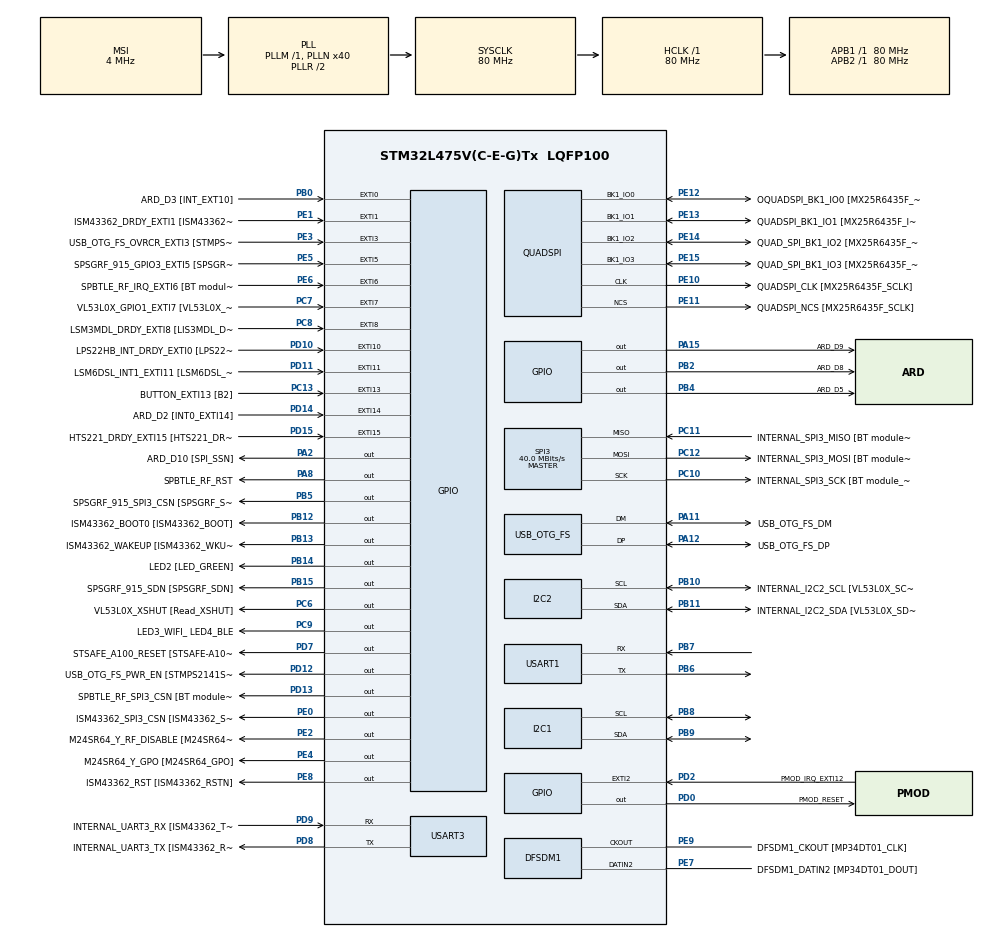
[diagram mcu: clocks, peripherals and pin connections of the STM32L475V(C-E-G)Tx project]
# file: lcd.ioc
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I2C1.Analog_Filter=I2C_ANALOGFILTER_DISABLE
I2C1.Timing=0x10D19EE6
I2C2.Timing=0x10D19CE4
Mcu.Family=STM32L4
Mcu.Name=STM32L475V(C-E-G)Tx
Mcu.Package=LQFP100
NVIC.EXTI15_10_IRQn=true\:0\:0\:false\:false\:true\:true\:true\:true
NVIC.EXTI9_5_IRQn=true\:0\:0\:false\:false\:true\:true\:true\:true
NVIC.PriorityGroup=NVIC_PRIORITYGROUP_4
PA0.GPIO_Label=ARD_D1 [UART4_TX]
PA0.Signal=UART4_TX
PA1.GPIO_Label=ARD_D0 [UART4_RX]
PA1.Signal=UART4_RX
PA10.GPIO_Label=USB_OTG_FS_ID
PA10.Signal=USB_OTG_FS_ID
PA11.GPIO_Label=USB_OTG_FS_DM
PA11.Mode=Device_Only
PA11.Signal=USB_OTG_FS_DM
PA12.GPIO_Label=USB_OTG_FS_DP
PA12.Mode=Device_Only
PA12.Signal=USB_OTG_FS_DP
PA13\ (JTMS-SWDIO).GPIO_Label=SYS_JTMS_SWDIO
PA13\ (JTMS-SWDIO).Mode=Serial_Wire
PA13\ (JTMS-SWDIO).Signal=SYS_JTMS-SWDIO
PA14\ (JTCK-SWCLK).GPIO_Label=SYS_JTCK_SWCLK
PA14\ (JTCK-SWCLK).Mode=Serial_Wire
PA14\ (JTCK-SWCLK).Signal=SYS_JTCK-SWCLK
PA15\ (JTDI).GPIO_Label=ARD_D9
PA15\ (JTDI).Signal=GPIO_Output
PA2.GPIO_Label=ARD_D10 [SPI_SSN]
PA2.Signal=GPIO_Output
PA3.GPIO_Label=ARD_D4
PA3.Signal=S_TIM2_CH4
PA4.GPIO_Label=ARD_D7
PA4.Signal=ADCx_IN9
PA5.GPIO_Label=ARD_D13 [SPI1_SCK]
PA5.Signal=SPI1_SCK
PA6.GPIO_Label=ARD_D12 [SPI1_MISO]
PA6.Signal=SPI1_MISO
PA7.GPIO_Label=ARD_D11 [SPI1_MOSI]
PA7.Signal=SPI1_MOSI
PA8.GPIO_Label=SPBTLE_RF_RST
PA8.Signal=GPIO_Output
PA9.GPIO_Label=USB_OTG_FS_VBUS [STMPS2141STR_OUT]
PA9.Signal=USB_OTG_FS_VBUS
PB0.GPIO_Label=ARD_D3 [INT_EXT10]
PB0.Signal=GPXTI0
PB1.GPIO_Label=ARD_D6 [ADC1_IN6]
PB1.Signal=ADCx_IN16
PB10.GPIO_Label=INTERNAL_I2C2_SCL [VL53L0X_SCL]
PB10.GPIO_Pu=GPIO_PULLUP
PB10.Mode=I2C
PB10.Signal=I2C2_SCL
PB11.GPIO_Label=INTERNAL_I2C2_SDA [VL53L0X_SDA]
PB11.GPIO_Pu=GPIO_PULLUP
PB11.Mode=I2C
PB11.Signal=I2C2_SDA
PB12.GPIO_Label=ISM43362_BOOT0 [ISM43362_BOOT]
PB12.Signal=GPIO_Output
PB13.GPIO_Label=ISM43362_WAKEUP [ISM43362_WKUP]
PB13.Signal=GPIO_Output
PB14.GPIO_Label=LED2 [LED_GREEN]
PB14.Signal=GPIO_Output
PB15.GPIO_Label=SPSGRF_915_SDN [SPSGRF_SDN]
PB15.Signal=GPIO_Output
PB2.GPIO_Label=ARD_D8
PB2.Signal=GPIO_Output
PB3\ (JTDO-TRACESWO).GPIO_Label=SYS_JTD0_SWO
PB3\ (JTDO-TRACESWO).Signal=SYS_JTDO-SWO
PB4\ (NJTRST).GPIO_Label=ARD_D5
PB4\ (NJTRST).Signal=GPIO_Output
PB5.GPIO_Label=SPSGRF_915_SPI3_CSN [SPSGRF_SPI_CS]
PB5.PinState=GPIO_PIN_SET
PB5.Signal=GPIO_Output
PB6.Mode=Asynchronous
PB6.Signal=USART1_TX
PB7.Mode=Asynchronous
PB7.Signal=USART1_RX
PB8.Mode=I2C
PB8.Signal=I2C1_SCL
PB9.Mode=I2C
PB9.Signal=I2C1_SDA
PC0.GPIO_Label=ARD_A5 [ADC]
PC0.Signal=ADCx_IN1
PC1.GPIO_Label=ARD_A4 [ADC]
PC1.Signal=ADCx_IN2
PC10.GPIO_Label=INTERNAL_SPI3_SCK [BT module_SPI_SCLK] [ISM43362_SCK]
PC10.Mode=Full_Duplex_Master
PC10.Signal=SPI3_SCK
PC11.GPIO_Label=INTERNAL_SPI3_MISO [BT module_SPI_MISO] [ISM43362_MISO]
PC11.Mode=Full_Duplex_Master
PC11.Signal=SPI3_MISO
PC12.GPIO_Label=INTERNAL_SPI3_MOSI [BT module_SPI_MOSI] [ISM43362_MOSI]
PC12.Mode=Full_Duplex_Master
PC12.Signal=SPI3_MOSI
PC13.GPIO_Label=BUTTON_EXTI13 [B2]
PC13.GPIO_ModeDefaultEXTI=GPIO_MODE_IT_FALLING
PC13.Signal=GPXTI13
PC14-OSC32_IN\ (PC14).Mode=LSE-External-Oscillator
PC14-OSC32_IN\ (PC14).Signal=RCC_OSC32_IN
PC15-OSC32_OUT\ (PC15).Mode=LSE-External-Oscillator
PC15-OSC32_OUT\ (PC15).Signal=RCC_OSC32_OUT
PC2.GPIO_Label=ARD_A3 [ADC]
PC2.Signal=ADCx_IN3
PC3.GPIO_Label=ARD_A2 [ADC]
PC3.Signal=ADCx_IN4
PC4.GPIO_Label=ARD_A1 [ADC]
PC4.Signal=ADCx_IN13
PC5.GPIO_Label=ARD_A0 [ADC]
PC5.Signal=ADCx_IN14
PC6.GPIO_Label=VL53L0X_XSHUT [Read_XSHUT]
PC6.Signal=GPIO_Output
PC7.GPIO_Label=VL53L0X_GPIO1_EXTI7 [VL53L0X_GPIO1]
PC7.Signal=GPXTI7
PC8.GPIO_Label=LSM3MDL_DRDY_EXTI8 [LIS3MDL_DRDY]
PC8.Signal=GPXTI8
PC9.GPIO_Label=LED3_WIFI_ LED4_BLE
PC9.Signal=GPIO_Output
PD0.GPIO_Label=PMOD_RESET
PD0.Signal=GPIO_Output
PD1.GPIO_Label=PMOD_SPI2_SCK
PD1.Signal=SPI2_SCK
PD10.GPIO_Label=LPS22HB_INT_DRDY_EXTI0 [LPS22HB_INT_DRDY] 
PD10.Signal=GPXTI10
PD11.GPIO_Label=LSM6DSL_INT1_EXTI11 [LSM6DSL_INT1]
PD11.Signal=GPXTI11
PD12.GPIO_Label=USB_OTG_FS_PWR_EN [STMPS2141STR_EN]
PD12.Signal=GPIO_Output
PD13.GPIO_Label=SPBTLE_RF_SPI3_CSN [BT module_SPI_CS]
PD13.PinState=GPIO_PIN_SET
PD13.Signal=GPIO_Output
PD14.GPIO_Label=ARD_D2 [INT0_EXTI14]
PD14.Signal=GPXTI14
PD15.GPIO_Label=HTS221_DRDY_EXTI15 [HTS221_DRDY]
PD15.Signal=GPXTI15
PD2.GPIO_Label=PMOD_IRQ_EXTI12
PD2.Signal=GPXTI2
PD3.GPIO_Label=PMOD_UART2_CTS
PD3.Signal=USART2_CTS
PD4.GPIO_Label=PMOD_UART2_RTS
PD4.Signal=USART2_RTS
PD5.GPIO_Label=PMOD_UART2_TX
PD5.Signal=USART2_TX
PD6.GPIO_Label=PMOD_UART2_RX
PD6.Signal=USART2_RX
PD7.GPIO_Label=STSAFE_A100_RESET [STSAFE-A100_RESET]
PD7.Signal=GPIO_Output
PD8.GPIO_Label=INTERNAL_UART3_TX [ISM43362_RX]
PD8.Mode=Asynchronous
PD8.Signal=USART3_TX
PD9.GPIO_Label=INTERNAL_UART3_RX [ISM43362_TX]
PD9.Mode=Asynchronous
PD9.Signal=USART3_RX
PE0.GPIO_Label=ISM43362_SPI3_CSN [ISM43362_SSN]
PE0.PinState=GPIO_PIN_SET
PE0.Signal=GPIO_Output
PE1.GPIO_Label=ISM43362_DRDY_EXTI1 [ISM43362_DATARDY]
PE1.Signal=GPXTI1
PE10.GPIO_Label=QUADSPI_CLK [MX25R6435F_SCLK]
PE10.Mode=Single Bank
PE10.Signal=QUADSPI_CLK
PE11.GPIO_Label=QUADSPI_NCS [MX25R6435F_SCLK]
PE11.Mode=Single Bank
PE11.Signal=QUADSPI_NCS
PE12.GPIO_Label=OQUADSPI_BK1_IO0 [MX25R6435F_IO0]
PE12.Mode=Single Bank
PE12.Signal=QUADSPI_BK1_IO0
PE13.GPIO_Label=QUADSPI_BK1_IO1 [MX25R6435F_IO1]
PE13.Mode=Single Bank
PE13.Signal=QUADSPI_BK1_IO1
PE14.GPIO_Label=QUAD_SPI_BK1_IO2 [MX25R6435F_IO2]
PE14.Mode=Single Bank
PE14.Signal=QUADSPI_BK1_IO2
PE15.GPIO_Label=QUAD_SPI_BK1_IO3 [MX25R6435F_IO3]
PE15.Mode=Single Bank
PE15.Signal=QUADSPI_BK1_IO3
PE2.GPIO_Label=M24SR64_Y_RF_DISABLE [M24SR64_RFDIS]
PE2.Signal=GPIO_Output
PE3.GPIO_Label=USB_OTG_FS_OVRCR_EXTI3 [STMPS2141STR_FAULT]
PE3.Signal=GPXTI3
PE4.GPIO_Label=M24SR64_Y_GPO [M24SR64_GPO]
PE4.Signal=GPIO_Output
PE5.GPIO_Label=SPSGRF_915_GPIO3_EXTI5 [SPSGRF_GPIO_3]
PE5.Signal=GPXTI5
PE6.GPIO_Label=SPBTLE_RF_IRQ_EXTI6 [BT module_SPI_IRQ]
PE6.Signal=GPXTI6
PE7.GPIO_Label=DFSDM1_DATIN2 [MP34DT01_DOUT]
PE7.Signal=S_DATAIN2DFSDM1
PE8.GPIO_Label=ISM43362_RST [ISM43362_RSTN]
PE8.Signal=GPIO_Output
PE9.GPIO_Label=DFSDM1_CKOUT [MP34DT01_CLK]
PE9.Signal=S_CKOUTDFSDM1
ProjectManager.HeapSize=0x200
ProjectManager.StackSize=0x400
ProjectManager.TargetToolchain=STM32CubeIDE
QUADSPI.ClockPrescaler=2
QUADSPI.FifoThreshold=4
QUADSPI.FlashSize=23
QUADSPI.SampleShifting=QSPI_SAMPLE_SHIFTING_HALFCYCLE
RCC.ADCFreq_Value=48000000
RCC.AHBFreq_Value=80000000
RCC.APB1Freq_Value=80000000
RCC.APB1TimFreq_Value=80000000
RCC.APB2Freq_Value=80000000
RCC.APB2TimFreq_Value=80000000
RCC.CortexFreq_Value=80000000
RCC.HCLKFreq_Value=80000000
RCC.HSE_VALUE=8000000
RCC.HSI_VALUE=16000000
RCC.MSI_VALUE=4000000
RCC.PLLN=40
RCC.PLLSAI1N=24
RCC.SYSCLKFreq_VALUE=80000000
RCC.SYSCLKSource=RCC_SYSCLKSOURCE_PLLCLK
RCC.USBFreq_Value=48000000
RCC.VCOOutputFreq_Value=160000000
SH.ADCx_IN1.0=ADC1_IN1
SH.ADCx_IN13.0=ADC1_IN13
SH.ADCx_IN14.0=ADC1_IN14
SH.ADCx_IN16.0=ADC1_IN16
SH.ADCx_IN2.0=ADC1_IN2
SH.ADCx_IN3.0=ADC1_IN3
SH.ADCx_IN4.0=ADC1_IN4
SH.ADCx_IN9.0=ADC1_IN9
SH.S_CKOUTDFSDM1.0=DFSDM1_CKOUT,CKOUT
SH.S_CKOUTDFSDM1.1=DFSDM1_CKOUT,PDM_SPI_Input_from_ch12_and_Internal_Clock
SH.S_DATAIN2DFSDM1.0=DFSDM1_DATIN2,PDM_SPI_Input_from_ch12_and_Internal_Clock
SH.S_TIM2_CH4.0=TIM2_CH4
SPI3.CalculateBaudRate=40.0 MBits/s
SPI3.Direction=SPI_DIRECTION_2LINES
SPI3.Mode=SPI_MODE_MASTER
SPI3.VirtualType=VM_MASTER
USART1.VirtualMode-Asynchronous=VM_ASYNC
USART3.VirtualMode-Asynchronous=VM_ASYNC
USB_OTG_FS.VirtualMode=Device_Only
board=B-L475E-IOT01A1

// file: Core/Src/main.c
/* USER CODE BEGIN Header */
/**
  ******************************************************************************
  * @file           : main.c
  * @brief          : Main program body
  ******************************************************************************
  * @attention
  *
  * Copyright (c) 2024 STMicroelectronics.
  * All rights reserved.
  *
  * This software is licensed under terms that can be found in the LICENSE file
  * in the root directory of this software component.
  * If no LICENSE file comes with this software, it is provided AS-IS.
  *
  ******************************************************************************
  */
/* USER CODE END Header */
#include "main.h"

/* USER CODE BEGIN Includes */

#include <string.h>
/* USER CODE END Includes */

DFSDM_Channel_HandleTypeDef hdfsdm1_channel1;

I2C_HandleTypeDef hi2c1;
I2C_HandleTypeDef hi2c2;

QSPI_HandleTypeDef hqspi;

SPI_HandleTypeDef hspi3;

UART_HandleTypeDef huart1;
UART_HandleTypeDef huart3;

PCD_HandleTypeDef hpcd_USB_OTG_FS;

/* USER CODE BEGIN PV */
#define SLAVE_ADDRESS_LCD 0x4E // change this according to ur setup

/* USER CODE END PV */

void SystemClock_Config(void);
static void MX_GPIO_Init(void);
static void MX_DFSDM1_Init(void);
static void MX_I2C2_Init(void);
static void MX_QUADSPI_Init(void);
static void MX_SPI3_Init(void);
static void MX_USART1_UART_Init(void);
static void MX_USART3_UART_Init(void);
static void MX_USB_OTG_FS_PCD_Init(void);
static void MX_I2C1_Init(void);

/* USER CODE BEGIN 0 */
void lcd_init (void)
{
  // 4 bit initialisation
  HAL_Delay(50);  // wait for >40ms
  lcd_send_cmd (0x30);
  HAL_Delay(5);  // wait for >4.1ms
  lcd_send_cmd (0x30);
  HAL_Delay(1);  // wait for >100us
  lcd_send_cmd (0x30);
  HAL_Delay(10);
  lcd_send_cmd (0x20);  // 4bit mode
  HAL_Delay(10);

  // display initialisation
  lcd_send_cmd (0x28); // Function set --> DL=0 (4 bit mode), N = 1 (2 line display) F = 0 (5x8 characters)
  HAL_Delay(1);
  lcd_send_cmd (0x08); //Display on/off control --> D=0,C=0, B=0  ---> display off
  HAL_Delay(1);
  lcd_send_cmd (0x01);  // clear display
  HAL_Delay(2);
  lcd_send_cmd (0x06); //Entry mode set --> I/D = 1 (increment cursor) & S = 0 (no shift)
  HAL_Delay(1);
  lcd_send_cmd (0x0C); //Display on/off control --> D = 1, C and B = 0. (Cursor and blink, last two bits)
}
void lcd_send_cmd (char cmd)
{
  char data_u, data_l;
  data_u = (cmd&0xf0);
  data_l = ((cmd<<4)&0xf0);
  uint8_t data_t[4];
    data_t[0] = data_u|0x0C;  //en=1, rs=0 -> bxxxx1100
    data_t[1] = data_u|0x08;  //en=0, rs=0 -> bxxxx1000
	data_t[2] = data_l|0x0C;  //en=1, rs=0 -> bxxxx1100
	data_t[3] = data_l|0x08;  //en=0, rs=0 -> bxxxx1000
	HAL_I2C_Master_Transmit (&hi2c1, SLAVE_ADDRESS_LCD,(uint8_t *) data_t, 4, 100);
}
void lcd_send_data (char data)
{
	char data_u, data_l;
	uint8_t data_t[4];
	data_u = (data&0xf0);
	data_l = ((data<<4)&0xf0);
	data_t[0] = data_u|0x0D;  //en=1, rs=1 -> bxxxx1101
	data_t[1] = data_u|0x09;  //en=0, rs=1 -> bxxxx1001
	data_t[2] = data_l|0x0D;  //en=1, rs=1 -> bxxxx1101
	data_t[3] = data_l|0x09;  //en=0, rs=1 -> bxxxx1001
	HAL_I2C_Master_Transmit (&hi2c1, SLAVE_ADDRESS_LCD,(uint8_t *) data_t, 4, 100);
}
void lcd_put_cur(int row, int col)
{
    switch (row)
    {
        case 0:
            col |= 0x80;
            break;
        case 1:
            col |= 0xC0;
            break;
    }
    lcd_send_cmd (col);
}
void lcd_send_string (char *str)
{
  while (*str) lcd_send_data (*str++);
}
/* USER CODE END 0 */

int main(void)
{

  /* USER CODE BEGIN 1 */
	void lcd_init (void)
	{
	  // 4 bit initialisation
	  HAL_Delay(50);  // wait for >40ms
	  lcd_send_cmd (0x30);
	  HAL_Delay(5);  // wait for >4.1ms
	  lcd_send_cmd (0x30);
	  HAL_Delay(1);  // wait for >100us
	  lcd_send_cmd (0x30);
	  HAL_Delay(10);
	  lcd_send_cmd (0x20);  // 4bit mode
	  HAL_Delay(10);

	  // display initialisation
	  lcd_send_cmd (0x28); // Function set --> DL=0 (4 bit mode), N = 1 (2 line display) F = 0 (5x8 characters)
	  HAL_Delay(1);
	  lcd_send_cmd (0x08); //Display on/off control --> D=0,C=0, B=0  ---> display off
	  HAL_Delay(1);
	  lcd_send_cmd (0x01);  // clear display
	  HAL_Delay(2);
	  lcd_send_cmd (0x06); //Entry mode set --> I/D = 1 (increment cursor) & S = 0 (no shift)
	  HAL_Delay(1);
	  lcd_send_cmd (0x0C); //Display on/off control --> D = 1, C and B = 0. (Cursor and blink, last two bits)
	}

  /* USER CODE END 1 */

  /* MCU Configuration--------------------------------------------------------*/

  /* Reset of all peripherals, Initializes the Flash interface and the Systick. */
  HAL_Init();

  /* Configure the system clock */
  SystemClock_Config();

  /* Initialize all configured peripherals */
  MX_GPIO_Init();
  MX_DFSDM1_Init();
  MX_I2C2_Init();
  MX_QUADSPI_Init();
  MX_SPI3_Init();
  MX_USART1_UART_Init();
  MX_USART3_UART_Init();
  MX_USB_OTG_FS_PCD_Init();
  MX_I2C1_Init();
  /* USER CODE BEGIN 2 */

  lcd_init ();

  /* USER CODE END 2 */

  /* Infinite loop */
  while (1)
  {

	  	  int num = 1234;
	  	  char numChar[5];
	  	  sprintf(numChar, "%d", num);
	  	  lcd_put_cur(1, 0);
	  	  lcd_send_string (numChar);

  }
}

void SystemClock_Config(void)
{
  RCC_OscInitTypeDef RCC_OscInitStruct = {0};
  RCC_ClkInitTypeDef RCC_ClkInitStruct = {0};

  /** Configure the main internal regulator output voltage
  */
  if (HAL_PWREx_ControlVoltageScaling(PWR_REGULATOR_VOLTAGE_SCALE1) != HAL_OK)
  {
    Error_Handler();
  }

  /** Configure LSE Drive Capability
  */
  HAL_PWR_EnableBkUpAccess();
  __HAL_RCC_LSEDRIVE_CONFIG(RCC_LSEDRIVE_LOW);

  /** Initializes the RCC Oscillators according to the specified parameters
  * in the RCC_OscInitTypeDef structure.
  */
  RCC_OscInitStruct.OscillatorType = RCC_OSCILLATORTYPE_LSE|RCC_OSCILLATORTYPE_MSI;
  RCC_OscInitStruct.LSEState = RCC_LSE_ON;
  RCC_OscInitStruct.MSIState = RCC_MSI_ON;
  RCC_OscInitStruct.MSICalibrationValue = 0;
  RCC_OscInitStruct.MSIClockRange = RCC_MSIRANGE_6;
  RCC_OscInitStruct.PLL.PLLState = RCC_PLL_ON;
  RCC_OscInitStruct.PLL.PLLSource = RCC_PLLSOURCE_MSI;
  RCC_OscInitStruct.PLL.PLLM = 1;
  RCC_OscInitStruct.PLL.PLLN = 40;
  RCC_OscInitStruct.PLL.PLLP = RCC_PLLP_DIV7;
  RCC_OscInitStruct.PLL.PLLQ = RCC_PLLQ_DIV2;
  RCC_OscInitStruct.PLL.PLLR = RCC_PLLR_DIV2;
  if (HAL_RCC_OscConfig(&RCC_OscInitStruct) != HAL_OK)
  {
    Error_Handler();
  }

  /** Initializes the CPU, AHB and APB buses clocks
  */
  RCC_ClkInitStruct.ClockType = RCC_CLOCKTYPE_HCLK|RCC_CLOCKTYPE_SYSCLK
                              |RCC_CLOCKTYPE_PCLK1|RCC_CLOCKTYPE_PCLK2;
  RCC_ClkInitStruct.SYSCLKSource = RCC_SYSCLKSOURCE_PLLCLK;
  RCC_ClkInitStruct.AHBCLKDivider = RCC_SYSCLK_DIV1;
  RCC_ClkInitStruct.APB1CLKDivider = RCC_HCLK_DIV1;
  RCC_ClkInitStruct.APB2CLKDivider = RCC_HCLK_DIV1;

  if (HAL_RCC_ClockConfig(&RCC_ClkInitStruct, FLASH_LATENCY_4) != HAL_OK)
  {
    Error_Handler();
  }

  /** Enable MSI Auto calibration
  */
  HAL_RCCEx_EnableMSIPLLMode();
}

static void MX_DFSDM1_Init(void)
{

  hdfsdm1_channel1.Instance = DFSDM1_Channel1;
  hdfsdm1_channel1.Init.OutputClock.Activation = ENABLE;
  hdfsdm1_channel1.Init.OutputClock.Selection = DFSDM_CHANNEL_OUTPUT_CLOCK_SYSTEM;
  hdfsdm1_channel1.Init.OutputClock.Divider = 2;
  hdfsdm1_channel1.Init.Input.Multiplexer = DFSDM_CHANNEL_EXTERNAL_INPUTS;
  hdfsdm1_channel1.Init.Input.DataPacking = DFSDM_CHANNEL_STANDARD_MODE;
  hdfsdm1_channel1.Init.Input.Pins = DFSDM_CHANNEL_FOLLOWING_CHANNEL_PINS;
  hdfsdm1_channel1.Init.SerialInterface.Type = DFSDM_CHANNEL_SPI_RISING;
  hdfsdm1_channel1.Init.SerialInterface.SpiClock = DFSDM_CHANNEL_SPI_CLOCK_INTERNAL;
  hdfsdm1_channel1.Init.Awd.FilterOrder = DFSDM_CHANNEL_FASTSINC_ORDER;
  hdfsdm1_channel1.Init.Awd.Oversampling = 1;
  hdfsdm1_channel1.Init.Offset = 0;
  hdfsdm1_channel1.Init.RightBitShift = 0x00;
  if (HAL_DFSDM_ChannelInit(&hdfsdm1_channel1) != HAL_OK)
  {
    Error_Handler();
  }

}

static void MX_I2C1_Init(void)
{

  hi2c1.Instance = I2C1;
  hi2c1.Init.Timing = 0x10D19CE4;
  hi2c1.Init.OwnAddress1 = 0;
  hi2c1.Init.AddressingMode = I2C_ADDRESSINGMODE_7BIT;
  hi2c1.Init.DualAddressMode = I2C_DUALADDRESS_DISABLE;
  hi2c1.Init.OwnAddress2 = 0;
  hi2c1.Init.OwnAddress2Masks = I2C_OA2_NOMASK;
  hi2c1.Init.GeneralCallMode = I2C_GENERALCALL_DISABLE;
  hi2c1.Init.NoStretchMode = I2C_NOSTRETCH_DISABLE;
  if (HAL_I2C_Init(&hi2c1) != HAL_OK)
  {
    Error_Handler();
  }

  /** Configure Analogue filter
  */
  if (HAL_I2CEx_ConfigAnalogFilter(&hi2c1, I2C_ANALOGFILTER_ENABLE) != HAL_OK)
  {
    Error_Handler();
  }

  /** Configure Digital filter
  */
  if (HAL_I2CEx_ConfigDigitalFilter(&hi2c1, 0) != HAL_OK)
  {
    Error_Handler();
  }

}

static void MX_I2C2_Init(void)
{

  hi2c2.Instance = I2C2;
  hi2c2.Init.Timing = 0x10D19CE4;
  hi2c2.Init.OwnAddress1 = 0;
  hi2c2.Init.AddressingMode = I2C_ADDRESSINGMODE_7BIT;
  hi2c2.Init.DualAddressMode = I2C_DUALADDRESS_DISABLE;
  hi2c2.Init.OwnAddress2 = 0;
  hi2c2.Init.OwnAddress2Masks = I2C_OA2_NOMASK;
  hi2c2.Init.GeneralCallMode = I2C_GENERALCALL_DISABLE;
  hi2c2.Init.NoStretchMode = I2C_NOSTRETCH_DISABLE;
  if (HAL_I2C_Init(&hi2c2) != HAL_OK)
  {
    Error_Handler();
  }

  /** Configure Analogue filter
  */
  if (HAL_I2CEx_ConfigAnalogFilter(&hi2c2, I2C_ANALOGFILTER_ENABLE) != HAL_OK)
  {
    Error_Handler();
  }

  /** Configure Digital filter
  */
  if (HAL_I2CEx_ConfigDigitalFilter(&hi2c2, 0) != HAL_OK)
  {
    Error_Handler();
  }

}

static void MX_QUADSPI_Init(void)
{

  /* QUADSPI parameter configuration*/
  hqspi.Instance = QUADSPI;
  hqspi.Init.ClockPrescaler = 2;
  hqspi.Init.FifoThreshold = 4;
  hqspi.Init.SampleShifting = QSPI_SAMPLE_SHIFTING_HALFCYCLE;
  hqspi.Init.FlashSize = 23;
  hqspi.Init.ChipSelectHighTime = QSPI_CS_HIGH_TIME_1_CYCLE;
  hqspi.Init.ClockMode = QSPI_CLOCK_MODE_0;
  if (HAL_QSPI_Init(&hqspi) != HAL_OK)
  {
    Error_Handler();
  }

}

static void MX_SPI3_Init(void)
{

  /* SPI3 parameter configuration*/
  hspi3.Instance = SPI3;
  hspi3.Init.Mode = SPI_MODE_MASTER;
  hspi3.Init.Direction = SPI_DIRECTION_2LINES;
  hspi3.Init.DataSize = SPI_DATASIZE_4BIT;
  hspi3.Init.CLKPolarity = SPI_POLARITY_LOW;
  hspi3.Init.CLKPhase = SPI_PHASE_1EDGE;
  hspi3.Init.NSS = SPI_NSS_SOFT;
  hspi3.Init.BaudRatePrescaler = SPI_BAUDRATEPRESCALER_2;
  hspi3.Init.FirstBit = SPI_FIRSTBIT_MSB;
  hspi3.Init.TIMode = SPI_TIMODE_DISABLE;
  hspi3.Init.CRCCalculation = SPI_CRCCALCULATION_DISABLE;
  hspi3.Init.CRCPolynomial = 7;
  hspi3.Init.CRCLength = SPI_CRC_LENGTH_DATASIZE;
  hspi3.Init.NSSPMode = SPI_NSS_PULSE_ENABLE;
  if (HAL_SPI_Init(&hspi3) != HAL_OK)
  {
    Error_Handler();
  }

}

static void MX_USART1_UART_Init(void)
{

  huart1.Instance = USART1;
  huart1.Init.BaudRate = 115200;
  huart1.Init.WordLength = UART_WORDLENGTH_8B;
  huart1.Init.StopBits = UART_STOPBITS_1;
  huart1.Init.Parity = UART_PARITY_NONE;
  huart1.Init.Mode = UART_MODE_TX_RX;
  huart1.Init.HwFlowCtl = UART_HWCONTROL_NONE;
  huart1.Init.OverSampling = UART_OVERSAMPLING_16;
  huart1.Init.OneBitSampling = UART_ONE_BIT_SAMPLE_DISABLE;
  huart1.AdvancedInit.AdvFeatureInit = UART_ADVFEATURE_NO_INIT;
  if (HAL_UART_Init(&huart1) != HAL_OK)
  {
    Error_Handler();
  }

}

static void MX_USART3_UART_Init(void)
{

  huart3.Instance = USART3;
  huart3.Init.BaudRate = 115200;
  huart3.Init.WordLength = UART_WORDLENGTH_8B;
  huart3.Init.StopBits = UART_STOPBITS_1;
  huart3.Init.Parity = UART_PARITY_NONE;
  huart3.Init.Mode = UART_MODE_TX_RX;
  huart3.Init.HwFlowCtl = UART_HWCONTROL_NONE;
  huart3.Init.OverSampling = UART_OVERSAMPLING_16;
  huart3.Init.OneBitSampling = UART_ONE_BIT_SAMPLE_DISABLE;
  huart3.AdvancedInit.AdvFeatureInit = UART_ADVFEATURE_NO_INIT;
  if (HAL_UART_Init(&huart3) != HAL_OK)
  {
    Error_Handler();
  }

}

static void MX_USB_OTG_FS_PCD_Init(void)
{

  hpcd_USB_OTG_FS.Instance = USB_OTG_FS;
  hpcd_USB_OTG_FS.Init.dev_endpoints = 6;
  hpcd_USB_OTG_FS.Init.speed = PCD_SPEED_FULL;
  hpcd_USB_OTG_FS.Init.phy_itface = PCD_PHY_EMBEDDED;
  hpcd_USB_OTG_FS.Init.Sof_enable = DISABLE;
  hpcd_USB_OTG_FS.Init.low_power_enable = DISABLE;
  hpcd_USB_OTG_FS.Init.lpm_enable = DISABLE;
  hpcd_USB_OTG_FS.Init.battery_charging_enable = DISABLE;
  hpcd_USB_OTG_FS.Init.use_dedicated_ep1 = DISABLE;
  hpcd_USB_OTG_FS.Init.vbus_sensing_enable = DISABLE;
  if (HAL_PCD_Init(&hpcd_USB_OTG_FS) != HAL_OK)
  {
    Error_Handler();
  }

}

static void MX_GPIO_Init(void)
{
  GPIO_InitTypeDef GPIO_InitStruct = {0};

  /* GPIO Ports Clock Enable */
  __HAL_RCC_GPIOE_CLK_ENABLE();
  __HAL_RCC_GPIOC_CLK_ENABLE();
  __HAL_RCC_GPIOA_CLK_ENABLE();
  __HAL_RCC_GPIOB_CLK_ENABLE();
  __HAL_RCC_GPIOD_CLK_ENABLE();

  /*Configure GPIO pin Output Level */
  HAL_GPIO_WritePin(GPIOE, M24SR64_Y_RF_DISABLE_Pin|M24SR64_Y_GPO_Pin|ISM43362_RST_Pin, GPIO_PIN_RESET);

  /*Configure GPIO pin Output Level */
  HAL_GPIO_WritePin(GPIOA, ARD_D10_Pin|SPBTLE_RF_RST_Pin|ARD_D9_Pin, GPIO_PIN_RESET);

  /*Configure GPIO pin Output Level */
  HAL_GPIO_WritePin(GPIOB, ARD_D8_Pin|ISM43362_BOOT0_Pin|ISM43362_WAKEUP_Pin|LED2_Pin
                          |SPSGRF_915_SDN_Pin|ARD_D5_Pin, GPIO_PIN_RESET);

  /*Configure GPIO pin Output Level */
  HAL_GPIO_WritePin(GPIOD, USB_OTG_FS_PWR_EN_Pin|PMOD_RESET_Pin|STSAFE_A100_RESET_Pin, GPIO_PIN_RESET);

  /*Configure GPIO pin Output Level */
  HAL_GPIO_WritePin(SPBTLE_RF_SPI3_CSN_GPIO_Port, SPBTLE_RF_SPI3_CSN_Pin, GPIO_PIN_SET);

  /*Configure GPIO pin Output Level */
  HAL_GPIO_WritePin(GPIOC, VL53L0X_XSHUT_Pin|LED3_WIFI__LED4_BLE_Pin, GPIO_PIN_RESET);

  /*Configure GPIO pin Output Level */
  HAL_GPIO_WritePin(SPSGRF_915_SPI3_CSN_GPIO_Port, SPSGRF_915_SPI3_CSN_Pin, GPIO_PIN_SET);

  /*Configure GPIO pin Output Level */
  HAL_GPIO_WritePin(ISM43362_SPI3_CSN_GPIO_Port, ISM43362_SPI3_CSN_Pin, GPIO_PIN_SET);

  /*Configure GPIO pins : M24SR64_Y_RF_DISABLE_Pin M24SR64_Y_GPO_Pin ISM43362_RST_Pin ISM43362_SPI3_CSN_Pin */
  GPIO_InitStruct.Pin = M24SR64_Y_RF_DISABLE_Pin|M24SR64_Y_GPO_Pin|ISM43362_RST_Pin|ISM43362_SPI3_CSN_Pin;
  GPIO_InitStruct.Mode = GPIO_MODE_OUTPUT_PP;
  GPIO_InitStruct.Pull = GPIO_NOPULL;
  GPIO_InitStruct.Speed = GPIO_SPEED_FREQ_LOW;
  HAL_GPIO_Init(GPIOE, &GPIO_InitStruct);

  /*Configure GPIO pins : USB_OTG_FS_OVRCR_EXTI3_Pin SPSGRF_915_GPIO3_EXTI5_Pin SPBTLE_RF_IRQ_EXTI6_Pin ISM43362_DRDY_EXTI1_Pin */
  GPIO_InitStruct.Pin = USB_OTG_FS_OVRCR_EXTI3_Pin|SPSGRF_915_GPIO3_EXTI5_Pin|SPBTLE_RF_IRQ_EXTI6_Pin|ISM43362_DRDY_EXTI1_Pin;
  GPIO_InitStruct.Mode = GPIO_MODE_IT_RISING;
  GPIO_InitStruct.Pull = GPIO_NOPULL;
  HAL_GPIO_Init(GPIOE, &GPIO_InitStruct);

  /*Configure GPIO pin : BUTTON_EXTI13_Pin */
  GPIO_InitStruct.Pin = BUTTON_EXTI13_Pin;
  GPIO_InitStruct.Mode = GPIO_MODE_IT_FALLING;
  GPIO_InitStruct.Pull = GPIO_NOPULL;
  HAL_GPIO_Init(BUTTON_EXTI13_GPIO_Port, &GPIO_InitStruct);

  /*Configure GPIO pins : ARD_A5_Pin ARD_A4_Pin ARD_A3_Pin ARD_A2_Pin
                           ARD_A1_Pin ARD_A0_Pin */
  GPIO_InitStruct.Pin = ARD_A5_Pin|ARD_A4_Pin|ARD_A3_Pin|ARD_A2_Pin
                          |ARD_A1_Pin|ARD_A0_Pin;
  GPIO_InitStruct.Mode = GPIO_MODE_ANALOG_ADC_CONTROL;
  GPIO_InitStruct.Pull = GPIO_NOPULL;
  HAL_GPIO_Init(GPIOC, &GPIO_InitStruct);

  /*Configure GPIO pins : ARD_D1_Pin ARD_D0_Pin */
  GPIO_InitStruct.Pin = ARD_D1_Pin|ARD_D0_Pin;
  GPIO_InitStruct.Mode = GPIO_MODE_AF_PP;
  GPIO_InitStruct.Pull = GPIO_NOPULL;
  GPIO_InitStruct.Speed = GPIO_SPEED_FREQ_VERY_HIGH;
  GPIO_InitStruct.Alternate = GPIO_AF8_UART4;
  HAL_GPIO_Init(GPIOA, &GPIO_InitStruct);

  /*Configure GPIO pins : ARD_D10_Pin SPBTLE_RF_RST_Pin ARD_D9_Pin */
  GPIO_InitStruct.Pin = ARD_D10_Pin|SPBTLE_RF_RST_Pin|ARD_D9_Pin;
  GPIO_InitStruct.Mode = GPIO_MODE_OUTPUT_PP;
  GPIO_InitStruct.Pull = GPIO_NOPULL;
  GPIO_InitStruct.Speed = GPIO_SPEED_FREQ_LOW;
  HAL_GPIO_Init(GPIOA, &GPIO_InitStruct);

  /*Configure GPIO pin : ARD_D4_Pin */
  GPIO_InitStruct.Pin = ARD_D4_Pin;
  GPIO_InitStruct.Mode = GPIO_MODE_AF_PP;
  GPIO_InitStruct.Pull = GPIO_NOPULL;
  GPIO_InitStruct.Speed = GPIO_SPEED_FREQ_LOW;
  GPIO_InitStruct.Alternate = GPIO_AF1_TIM2;
  HAL_GPIO_Init(ARD_D4_GPIO_Port, &GPIO_InitStruct);

  /*Configure GPIO pin : ARD_D7_Pin */
  GPIO_InitStruct.Pin = ARD_D7_Pin;
  GPIO_InitStruct.Mode = GPIO_MODE_ANALOG_ADC_CONTROL;
  GPIO_InitStruct.Pull = GPIO_NOPULL;
  HAL_GPIO_Init(ARD_D7_GPIO_Port, &GPIO_InitStruct);

  /*Configure GPIO pins : ARD_D13_Pin ARD_D12_Pin ARD_D11_Pin */
  GPIO_InitStruct.Pin = ARD_D13_Pin|ARD_D12_Pin|ARD_D11_Pin;
  GPIO_InitStruct.Mode = GPIO_MODE_AF_PP;
  GPIO_InitStruct.Pull = GPIO_NOPULL;
  GPIO_InitStruct.Speed = GPIO_SPEED_FREQ_VERY_HIGH;
  GPIO_InitStruct.Alternate = GPIO_AF5_SPI1;
  HAL_GPIO_Init(GPIOA, &GPIO_InitStruct);

  /*Configure GPIO pin : ARD_D3_Pin */
  GPIO_InitStruct.Pin = ARD_D3_Pin;
  GPIO_InitStruct.Mode = GPIO_MODE_IT_RISING;
  GPIO_InitStruct.Pull = GPIO_NOPULL;
  HAL_GPIO_Init(ARD_D3_GPIO_Port, &GPIO_InitStruct);

  /*Configure GPIO pin : ARD_D6_Pin */
  GPIO_InitStruct.Pin = ARD_D6_Pin;
  GPIO_InitStruct.Mode = GPIO_MODE_ANALOG_ADC_CONTROL;
  GPIO_InitStruct.Pull = GPIO_NOPULL;
  HAL_GPIO_Init(ARD_D6_GPIO_Port, &GPIO_InitStruct);

  /*Configure GPIO pins : ARD_D8_Pin ISM43362_BOOT0_Pin ISM43362_WAKEUP_Pin LED2_Pin
                           SPSGRF_915_SDN_Pin ARD_D5_Pin SPSGRF_915_SPI3_CSN_Pin */
  GPIO_InitStruct.Pin = ARD_D8_Pin|ISM43362_BOOT0_Pin|ISM43362_WAKEUP_Pin|LED2_Pin
                          |SPSGRF_915_SDN_Pin|ARD_D5_Pin|SPSGRF_915_SPI3_CSN_Pin;
  GPIO_InitStruct.Mode = GPIO_MODE_OUTPUT_PP;
  GPIO_InitStruct.Pull = GPIO_NOPULL;
  GPIO_InitStruct.Speed = GPIO_SPEED_FREQ_LOW;
  HAL_GPIO_Init(GPIOB, &GPIO_InitStruct);

  /*Configure GPIO pins : LPS22HB_INT_DRDY_EXTI0_Pin LSM6DSL_INT1_EXTI11_Pin ARD_D2_Pin HTS221_DRDY_EXTI15_Pin
                           PMOD_IRQ_EXTI12_Pin */
  GPIO_InitStruct.Pin = LPS22HB_INT_DRDY_EXTI0_Pin|LSM6DSL_INT1_EXTI11_Pin|ARD_D2_Pin|HTS221_DRDY_EXTI15_Pin
                          |PMOD_IRQ_EXTI12_Pin;
  GPIO_InitStruct.Mode = GPIO_MODE_IT_RISING;
  GPIO_InitStruct.Pull = GPIO_NOPULL;
  HAL_GPIO_Init(GPIOD, &GPIO_InitStruct);

  /*Configure GPIO pins : USB_OTG_FS_PWR_EN_Pin SPBTLE_RF_SPI3_CSN_Pin PMOD_RESET_Pin STSAFE_A100_RESET_Pin */
  GPIO_InitStruct.Pin = USB_OTG_FS_PWR_EN_Pin|SPBTLE_RF_SPI3_CSN_Pin|PMOD_RESET_Pin|STSAFE_A100_RESET_Pin;
  GPIO_InitStruct.Mode = GPIO_MODE_OUTPUT_PP;
  GPIO_InitStruct.Pull = GPIO_NOPULL;
  GPIO_InitStruct.Speed = GPIO_SPEED_FREQ_LOW;
  HAL_GPIO_Init(GPIOD, &GPIO_InitStruct);

  /*Configure GPIO pins : VL53L0X_XSHUT_Pin LED3_WIFI__LED4_BLE_Pin */
  GPIO_InitStruct.Pin = VL53L0X_XSHUT_Pin|LED3_WIFI__LED4_BLE_Pin;
  GPIO_InitStruct.Mode = GPIO_MODE_OUTPUT_PP;
  GPIO_InitStruct.Pull = GPIO_NOPULL;
  GPIO_InitStruct.Speed = GPIO_SPEED_FREQ_LOW;
  HAL_GPIO_Init(GPIOC, &GPIO_InitStruct);

  /*Configure GPIO pins : VL53L0X_GPIO1_EXTI7_Pin LSM3MDL_DRDY_EXTI8_Pin */
  GPIO_InitStruct.Pin = VL53L0X_GPIO1_EXTI7_Pin|LSM3MDL_DRDY_EXTI8_Pin;
  GPIO_InitStruct.Mode = GPIO_MODE_IT_RISING;
  GPIO_InitStruct.Pull = GPIO_NOPULL;
  HAL_GPIO_Init(GPIOC, &GPIO_InitStruct);

  /*Configure GPIO pin : PMOD_SPI2_SCK_Pin */
  GPIO_InitStruct.Pin = PMOD_SPI2_SCK_Pin;
  GPIO_InitStruct.Mode = GPIO_MODE_AF_PP;
  GPIO_InitStruct.Pull = GPIO_NOPULL;
  GPIO_InitStruct.Speed = GPIO_SPEED_FREQ_VERY_HIGH;
  GPIO_InitStruct.Alternate = GPIO_AF5_SPI2;
  HAL_GPIO_Init(PMOD_SPI2_SCK_GPIO_Port, &GPIO_InitStruct);

  /*Configure GPIO pins : PMOD_UART2_CTS_Pin PMOD_UART2_RTS_Pin PMOD_UART2_TX_Pin PMOD_UART2_RX_Pin */
  GPIO_InitStruct.Pin = PMOD_UART2_CTS_Pin|PMOD_UART2_RTS_Pin|PMOD_UART2_TX_Pin|PMOD_UART2_RX_Pin;
  GPIO_InitStruct.Mode = GPIO_MODE_AF_PP;
  GPIO_InitStruct.Pull = GPIO_NOPULL;
  GPIO_InitStruct.Speed = GPIO_SPEED_FREQ_VERY_HIGH;
  GPIO_InitStruct.Alternate = GPIO_AF7_USART2;
  HAL_GPIO_Init(GPIOD, &GPIO_InitStruct);

  /* EXTI interrupt init*/
  HAL_NVIC_SetPriority(EXTI9_5_IRQn, 0, 0);
  HAL_NVIC_EnableIRQ(EXTI9_5_IRQn);

  HAL_NVIC_SetPriority(EXTI15_10_IRQn, 0, 0);
  HAL_NVIC_EnableIRQ(EXTI15_10_IRQn);

}

void Error_Handler(void)
{
  __disable_irq();
  while (1)
  {
  }
}
